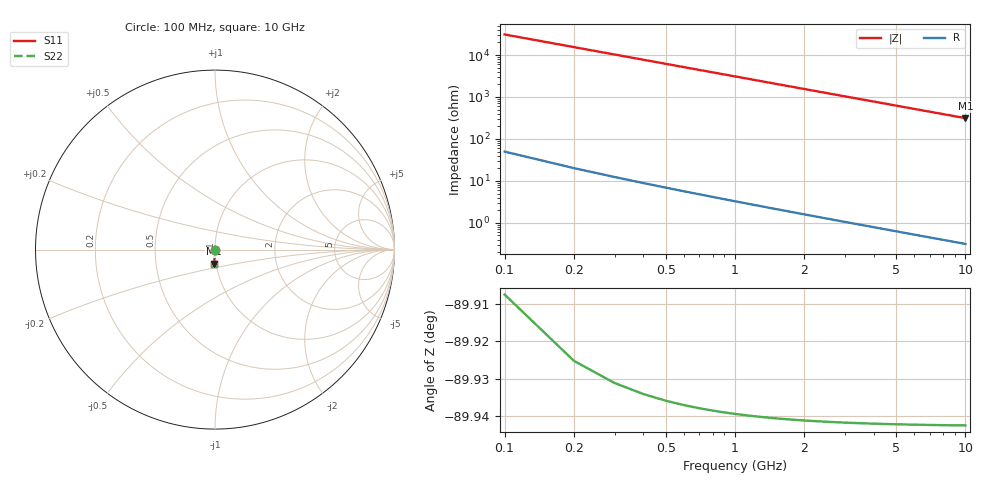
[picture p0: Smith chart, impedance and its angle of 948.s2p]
# Hz S RI R 50.00
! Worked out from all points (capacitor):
!   100 points, 100 MHz to 10 GHz, reference 50 ohm
!   read as one part in shunt: C = 51.5 fF near 100 MHz
!   lowest |Z| = 313 ohm at 10 GHz (marker M1)
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1e8  -1.88e-06 -0.000809  1 -0.00081  1 -0.00081  -1.88e-06 -0.000809
2e8  -4.65e-06 -0.00162  1 -0.00162  1 -0.00162  -4.65e-06 -0.00162
3e8  -8.73e-06 -0.00243  1 -0.00243  1 -0.00243  -8.73e-06 -0.00243
4e8  -1.41e-05 -0.00324  1 -0.00324  1 -0.00324  -1.41e-05 -0.00324
5e8  -2.08e-05 -0.00404  1 -0.00405  1 -0.00405  -2.08e-05 -0.00404
6e8  -2.88e-05 -0.00485  1 -0.00486  1 -0.00486  -2.88e-05 -0.00485
7e8  -3.81e-05 -0.00566  1 -0.00566  1 -0.00566  -3.81e-05 -0.00566
8e8  -4.87e-05 -0.00647  1 -0.00647  1 -0.00647  -4.87e-05 -0.00647
9e8  -6.06e-05 -0.00727  0.9999 -0.00728  0.9999 -0.00728  -6.06e-05 -0.00727
1.1e9  -8.83e-05 -0.00889  0.9999 -0.00889  0.9999 -0.00889  -8.83e-05 -0.00889
1.4e9  -0.00014 -0.0113  0.9999 -0.0113  0.9999 -0.0113  -0.00014 -0.0113
1.8e9  -0.000226 -0.0145  0.9998 -0.0145  0.9998 -0.0145  -0.000226 -0.0145
2.1e9  -0.000304 -0.0169  0.9997 -0.0169  0.9997 -0.0169  -0.000304 -0.0169
2.5e9  -0.000426 -0.0201  0.9996 -0.0201  0.9996 -0.0201  -0.000426 -0.0201
2.9e9  -0.000569 -0.0233  0.9994 -0.0233  0.9994 -0.0233  -0.000569 -0.0233
3.4e9  -0.000775 -0.0273  0.9992 -0.0273  0.9992 -0.0273  -0.000775 -0.0273
4.2e9  -0.00117 -0.0337  0.9988 -0.0337  0.9988 -0.0337  -0.00117 -0.0337
5.1e9  -0.00171 -0.0408  0.9983 -0.0409  0.9983 -0.0409  -0.00171 -0.0408
5.9e9  -0.00228 -0.0471  0.9977 -0.0472  0.9977 -0.0472  -0.00228 -0.0471
6.7e9  -0.00292 -0.0534  0.9971 -0.0535  0.9971 -0.0535  -0.00292 -0.0534
8.4e9  -0.00455 -0.0668  0.9954 -0.0669  0.9954 -0.0669  -0.00455 -0.0668
1e10  -0.00641 -0.0793  0.9936 -0.0793  0.9936 -0.0793  -0.00641 -0.0793
